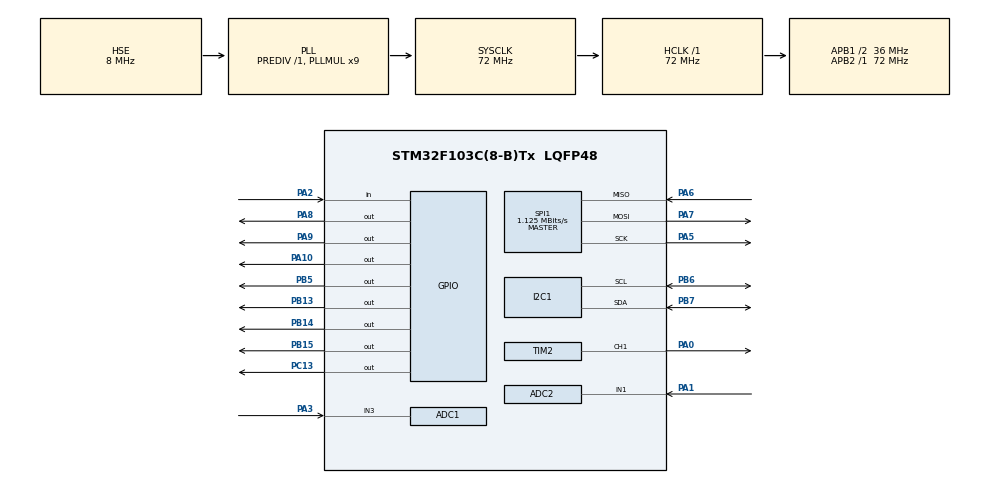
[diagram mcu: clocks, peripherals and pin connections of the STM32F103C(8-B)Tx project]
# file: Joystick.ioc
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ADC1.Channel-1\#ChannelRegularConversion=ADC_CHANNEL_3
ADC1.NbrOfConversionFlag=1
ADC1.Rank-1\#ChannelRegularConversion=1
ADC1.SamplingTime-1\#ChannelRegularConversion=ADC_SAMPLETIME_1CYCLE_5
ADC1.master=1
ADC2.Channel-0\#ChannelRegularConversion=ADC_CHANNEL_1
ADC2.NbrOfConversionFlag=1
ADC2.Rank-0\#ChannelRegularConversion=1
ADC2.SamplingTime-0\#ChannelRegularConversion=ADC_SAMPLETIME_1CYCLE_5
FREERTOS.Queues01=queueJoystPant,10,botones_t,0,Dynamic,NULL,NULL;queueSonidoMenu,10,musica_t,0,Dynamic,NULL,NULL
FREERTOS.Tasks01=JoystickTask,24,128,entryJoystick,Default,NULL,Dynamic,NULL,NULL;PantallaTask,24,256,entryPantalla,Default,NULL,Dynamic,NULL,NULL;MemoriaTask,40,128,entryMemoria,Default,NULL,Dynamic,NULL,NULL;SonidoTask,40,128,entrySonido,Default,NULL,Dynamic,NULL,NULL
FREERTOS.configRECORD_STACK_HIGH_ADDRESS=1
FREERTOS.configTOTAL_HEAP_SIZE=4000
FREERTOS.configUSE_APPLICATION_TASK_TAG=1
FREERTOS.configUSE_IDLE_HOOK=1
I2C1.I2C_Mode=I2C_Fast
Mcu.Family=STM32F1
Mcu.Name=STM32F103C(8-B)Tx
Mcu.Package=LQFP48
NVIC.PriorityGroup=NVIC_PRIORITYGROUP_4
NVIC.TIM3_IRQn=true\:4\:0\:true\:false\:true\:false\:true\:true\:true
NVIC.TIM4_IRQn=true\:15\:0\:true\:false\:true\:false\:false\:true\:true
NVIC.TimeBase=TIM4_IRQn
NVIC.TimeBaseIP=TIM4
PA0-WKUP.Signal=S_TIM2_CH1_ETR
PA1.Signal=ADCx_IN1
PA10.Signal=GPIO_Output
PA13.Mode=Serial_Wire
PA13.Signal=SYS_JTMS-SWDIO
PA14.Mode=Serial_Wire
PA14.Signal=SYS_JTCK-SWCLK
PA2.GPIO_PuPd=GPIO_PULLUP
PA2.Signal=GPIO_Input
PA3.Signal=ADCx_IN3
PA5.Mode=Full_Duplex_Master
PA5.Signal=SPI1_SCK
PA6.Mode=Full_Duplex_Master
PA6.Signal=SPI1_MISO
PA7.Mode=Full_Duplex_Master
PA7.Signal=SPI1_MOSI
PA8.Signal=GPIO_Output
PA9.Signal=GPIO_Output
PB13.Signal=GPIO_Output
PB14.Signal=GPIO_Output
PB15.Signal=GPIO_Output
PB5.Signal=GPIO_Output
PB6.Mode=I2C
PB6.Signal=I2C1_SCL
PB7.Mode=I2C
PB7.Signal=I2C1_SDA
PC13-TAMPER-RTC.Signal=GPIO_Output
PD0-OSC_IN.Mode=HSE-External-Oscillator
PD0-OSC_IN.Signal=RCC_OSC_IN
PD1-OSC_OUT.Mode=HSE-External-Oscillator
PD1-OSC_OUT.Signal=RCC_OSC_OUT
ProjectManager.HeapSize=0x200
ProjectManager.StackSize=0x400
ProjectManager.TargetToolchain=STM32CubeIDE
RCC.ADCPresc=RCC_ADCPCLK2_DIV6
RCC.AHBFreq_Value=72000000
RCC.APB1CLKDivider=RCC_HCLK_DIV2
RCC.APB1Freq_Value=36000000
RCC.APB1TimFreq_Value=72000000
RCC.APB2Freq_Value=72000000
RCC.APB2TimFreq_Value=72000000
RCC.HCLKFreq_Value=72000000
RCC.PLLMUL=RCC_PLL_MUL9
RCC.PLLSourceVirtual=RCC_PLLSOURCE_HSE
RCC.SYSCLKFreq_VALUE=72000000
RCC.SYSCLKSource=RCC_SYSCLKSOURCE_PLLCLK
RCC.USBFreq_Value=72000000
SH.ADCx_IN1.0=ADC2_IN1,IN1
SH.ADCx_IN3.0=ADC1_IN3,IN3
SH.S_TIM2_CH1_ETR.0=TIM2_CH1,PWM Generation1 CH1
SPI1.BaudRatePrescaler=SPI_BAUDRATEPRESCALER_64
SPI1.CalculateBaudRate=1.125 MBits/s
SPI1.Direction=SPI_DIRECTION_2LINES
SPI1.Mode=SPI_MODE_MASTER
SPI1.VirtualType=VM_MASTER
TIM2.Channel-PWM\ Generation1\ CH1=TIM_CHANNEL_1
TIM2.Period=255-1
TIM2.Prescaler=1-1
TIM3.Period=125-1
TIM3.Prescaler=72-1
VP_FREERTOS_VS_CMSIS_V2.Mode=CMSIS_V2
VP_SYS_VS_tim4.Mode=TIM4
VP_TIM2_VS_ClockSourceINT.Mode=Internal
VP_TIM3_VS_ClockSourceINT.Mode=Internal
board=custom

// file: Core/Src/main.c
/* USER CODE BEGIN Header */
/**
  ******************************************************************************
  * @file           : main.c
  * @brief          : Main program body
  ******************************************************************************
  * @attention
  *
  * Copyright (c) 2023 STMicroelectronics.
  * All rights reserved.
  *
  * This software is licensed under terms that can be found in the LICENSE file
  * in the root directory of this software component.
  * If no LICENSE file comes with this software, it is provided AS-IS.
  *
  ******************************************************************************
  */
/* USER CODE END Header */
#include "main.h"
#include "cmsis_os.h"

/* USER CODE BEGIN Includes */

//#include "invaders.h"
#include "task.h"
#include "memoria.h"

#include "tonos.h"
#include "menu.h"

/* USER CODE END Includes */

/* USER CODE BEGIN PTD */

typedef struct{

	uint8_t x_value;
	uint8_t y_value;
	uint8_t boton;

}botones_t;

/* USER CODE END PTD */

/* USER CODE BEGIN PD */

//------------------------------------------VARIABLES - MUSICA PARA EL GAME OVER, DISPARO Y EXPLOSIONES  ------------------------------------

musica_t musica;

volatile uint8_t *puntero_musica;
uint8_t *puntero_musica_final_f622 = tono_622hz + TAMANO_BUFF_TONO_622;
uint8_t *puntero_musica_final_f587 = tono_587hz + TAMANO_BUFF_TONO_587;
uint8_t *puntero_musica_final_f554 = tono_554hz + TAMANO_BUFF_TONO_554;
uint8_t *puntero_musica_final_tonos = tonos_variables + TAMANO_BUFF_TONOS_VARIABLES;
uint8_t *puntero_final_disparo = audio_disparo + TAMANO_BUFF_AUDIO_DISPARO;
uint8_t *puntero_final_explosion = audio_explosion + TAMANO_BUFF_AUDIO_EXPLOSION;

volatile tonos_t tonos;
volatile uint8_t conteo_musica;

/* USER CODE END PD */

/* USER CODE BEGIN PM */

//Para el debug, trace hooks.

void callback_in(int tag){
	switch(tag){
		case 0:
			HAL_GPIO_WritePin(GPIOA, GPIO_PIN_10, GPIO_PIN_SET);
		break;
		case 1:
			HAL_GPIO_WritePin(GPIOA, GPIO_PIN_9, GPIO_PIN_SET);
		break;
		case 2:
			HAL_GPIO_WritePin(GPIOA, GPIO_PIN_8, GPIO_PIN_SET);
		break;
		case 3:
			HAL_GPIO_WritePin(GPIOB, GPIO_PIN_15, GPIO_PIN_SET);
		break;
		case 4:
			HAL_GPIO_WritePin(GPIOB, GPIO_PIN_14, GPIO_PIN_SET);
		break;
	}
}

void callback_out(int tag){
	switch(tag){
		case 0:
			HAL_GPIO_WritePin(GPIOA, GPIO_PIN_10, GPIO_PIN_RESET);
		break;
		case 1:
			HAL_GPIO_WritePin(GPIOA, GPIO_PIN_9, GPIO_PIN_RESET);
		break;
		case 2:
			HAL_GPIO_WritePin(GPIOA, GPIO_PIN_8, GPIO_PIN_RESET);
		break;
		case 3:
			HAL_GPIO_WritePin(GPIOB, GPIO_PIN_15, GPIO_PIN_RESET);
		break;
		case 4:
			HAL_GPIO_WritePin(GPIOB, GPIO_PIN_14, GPIO_PIN_RESET);
		break;
	}
}

/* USER CODE END PM */

ADC_HandleTypeDef hadc1;
ADC_HandleTypeDef hadc2;

I2C_HandleTypeDef hi2c1;

SPI_HandleTypeDef hspi1;

TIM_HandleTypeDef htim2;
TIM_HandleTypeDef htim3;

/* Definitions for JoystickTask */
osThreadId_t JoystickTaskHandle;
const osThreadAttr_t JoystickTask_attributes = {
  .name = "JoystickTask",
  .stack_size = 128 * 4,
  .priority = (osPriority_t) osPriorityNormal,
};
/* Definitions for PantallaTask */
osThreadId_t PantallaTaskHandle;
const osThreadAttr_t PantallaTask_attributes = {
  .name = "PantallaTask",
  .stack_size = 256 * 4,
  .priority = (osPriority_t) osPriorityNormal,
};
/* Definitions for MemoriaTask */
osThreadId_t MemoriaTaskHandle;
const osThreadAttr_t MemoriaTask_attributes = {
  .name = "MemoriaTask",
  .stack_size = 128 * 4,
  .priority = (osPriority_t) osPriorityHigh,
};
/* Definitions for SonidoTask */
osThreadId_t SonidoTaskHandle;
const osThreadAttr_t SonidoTask_attributes = {
  .name = "SonidoTask",
  .stack_size = 128 * 4,
  .priority = (osPriority_t) osPriorityHigh,
};
/* Definitions for queueJoystPant */
osMessageQueueId_t queueJoystPantHandle;
const osMessageQueueAttr_t queueJoystPant_attributes = {
  .name = "queueJoystPant"
};
/* Definitions for queueSonidoMenu */
osMessageQueueId_t queueSonidoMenuHandle;
const osMessageQueueAttr_t queueSonidoMenu_attributes = {
  .name = "queueSonidoMenu"
};
/* USER CODE BEGIN PV */

//Notificacion entre MemoriaTask y PantallaTask
osEventFlagsId_t notificationFlag;

/* USER CODE END PV */

void SystemClock_Config(void);
static void MX_GPIO_Init(void);
static void MX_ADC1_Init(void);
static void MX_I2C1_Init(void);
static void MX_SPI1_Init(void);
static void MX_ADC2_Init(void);
static void MX_TIM2_Init(void);
static void MX_TIM3_Init(void);
void entryJoystick(void *argument);
void entryPantalla(void *argument);
void entryMemoria(void *argument);
void entrySonido(void *argument);

int main(void)
{

  /* MCU Configuration--------------------------------------------------------*/

  /* Reset of all peripherals, Initializes the Flash interface and the Systick. */
  HAL_Init();

  /* Configure the system clock */
  SystemClock_Config();

  /* Initialize all configured peripherals */
  MX_GPIO_Init();
  MX_ADC1_Init();
  MX_I2C1_Init();
  MX_SPI1_Init();
  MX_ADC2_Init();
  MX_TIM2_Init();
  MX_TIM3_Init();

  /* Init scheduler */
  osKernelInitialize();

  /* Create the queue(s) */
  /* creation of queueJoystPant */
  queueJoystPantHandle = osMessageQueueNew (10, sizeof(botones_t), &queueJoystPant_attributes);

  /* creation of queueSonidoMenu */
  queueSonidoMenuHandle = osMessageQueueNew (10, sizeof(musica_t), &queueSonidoMenu_attributes);

  /* Create the thread(s) */
  /* creation of JoystickTask */
  JoystickTaskHandle = osThreadNew(entryJoystick, NULL, &JoystickTask_attributes);

  /* creation of PantallaTask */
  PantallaTaskHandle = osThreadNew(entryPantalla, NULL, &PantallaTask_attributes);

  /* creation of MemoriaTask */
  MemoriaTaskHandle = osThreadNew(entryMemoria, NULL, &MemoriaTask_attributes);

  /* creation of SonidoTask */
  SonidoTaskHandle = osThreadNew(entrySonido, NULL, &SonidoTask_attributes);

  /* USER CODE BEGIN RTOS_EVENTS */
  /* add events, ... */

  //Creacion de la cola notificacion.
  notificationFlag = osEventFlagsNew(NULL);

  /* USER CODE END RTOS_EVENTS */

  /* Start scheduler */
  osKernelStart();

  /* We should never get here as control is now taken by the scheduler */
  /* Infinite loop */
  while (1)
  {

  }
}

void SystemClock_Config(void)
{
  RCC_OscInitTypeDef RCC_OscInitStruct = {0};
  RCC_ClkInitTypeDef RCC_ClkInitStruct = {0};
  RCC_PeriphCLKInitTypeDef PeriphClkInit = {0};

  /** Initializes the RCC Oscillators according to the specified parameters
  * in the RCC_OscInitTypeDef structure.
  */
  RCC_OscInitStruct.OscillatorType = RCC_OSCILLATORTYPE_HSE;
  RCC_OscInitStruct.HSEState = RCC_HSE_ON;
  RCC_OscInitStruct.HSEPredivValue = RCC_HSE_PREDIV_DIV1;
  RCC_OscInitStruct.HSIState = RCC_HSI_ON;
  RCC_OscInitStruct.PLL.PLLState = RCC_PLL_ON;
  RCC_OscInitStruct.PLL.PLLSource = RCC_PLLSOURCE_HSE;
  RCC_OscInitStruct.PLL.PLLMUL = RCC_PLL_MUL9;
  if (HAL_RCC_OscConfig(&RCC_OscInitStruct) != HAL_OK)
  {
    Error_Handler();
  }

  /** Initializes the CPU, AHB and APB buses clocks
  */
  RCC_ClkInitStruct.ClockType = RCC_CLOCKTYPE_HCLK|RCC_CLOCKTYPE_SYSCLK
                              |RCC_CLOCKTYPE_PCLK1|RCC_CLOCKTYPE_PCLK2;
  RCC_ClkInitStruct.SYSCLKSource = RCC_SYSCLKSOURCE_PLLCLK;
  RCC_ClkInitStruct.AHBCLKDivider = RCC_SYSCLK_DIV1;
  RCC_ClkInitStruct.APB1CLKDivider = RCC_HCLK_DIV2;
  RCC_ClkInitStruct.APB2CLKDivider = RCC_HCLK_DIV1;

  if (HAL_RCC_ClockConfig(&RCC_ClkInitStruct, FLASH_LATENCY_2) != HAL_OK)
  {
    Error_Handler();
  }
  PeriphClkInit.PeriphClockSelection = RCC_PERIPHCLK_ADC;
  PeriphClkInit.AdcClockSelection = RCC_ADCPCLK2_DIV6;
  if (HAL_RCCEx_PeriphCLKConfig(&PeriphClkInit) != HAL_OK)
  {
    Error_Handler();
  }
}

static void MX_ADC1_Init(void)
{

  ADC_ChannelConfTypeDef sConfig = {0};

  /** Common config
  */
  hadc1.Instance = ADC1;
  hadc1.Init.ScanConvMode = ADC_SCAN_DISABLE;
  hadc1.Init.ContinuousConvMode = DISABLE;
  hadc1.Init.DiscontinuousConvMode = DISABLE;
  hadc1.Init.ExternalTrigConv = ADC_SOFTWARE_START;
  hadc1.Init.DataAlign = ADC_DATAALIGN_RIGHT;
  hadc1.Init.NbrOfConversion = 1;
  if (HAL_ADC_Init(&hadc1) != HAL_OK)
  {
    Error_Handler();
  }

  /** Configure Regular Channel
  */
  sConfig.Channel = ADC_CHANNEL_3;
  sConfig.Rank = ADC_REGULAR_RANK_1;
  sConfig.SamplingTime = ADC_SAMPLETIME_1CYCLE_5;
  if (HAL_ADC_ConfigChannel(&hadc1, &sConfig) != HAL_OK)
  {
    Error_Handler();
  }

}

static void MX_ADC2_Init(void)
{

  ADC_ChannelConfTypeDef sConfig = {0};

  /** Common config
  */
  hadc2.Instance = ADC2;
  hadc2.Init.ScanConvMode = ADC_SCAN_DISABLE;
  hadc2.Init.ContinuousConvMode = DISABLE;
  hadc2.Init.DiscontinuousConvMode = DISABLE;
  hadc2.Init.ExternalTrigConv = ADC_SOFTWARE_START;
  hadc2.Init.DataAlign = ADC_DATAALIGN_RIGHT;
  hadc2.Init.NbrOfConversion = 1;
  if (HAL_ADC_Init(&hadc2) != HAL_OK)
  {
    Error_Handler();
  }

  /** Configure Regular Channel
  */
  sConfig.Channel = ADC_CHANNEL_1;
  sConfig.Rank = ADC_REGULAR_RANK_1;
  sConfig.SamplingTime = ADC_SAMPLETIME_1CYCLE_5;
  if (HAL_ADC_ConfigChannel(&hadc2, &sConfig) != HAL_OK)
  {
    Error_Handler();
  }

}

static void MX_I2C1_Init(void)
{

  hi2c1.Instance = I2C1;
  hi2c1.Init.ClockSpeed = 400000;
  hi2c1.Init.DutyCycle = I2C_DUTYCYCLE_2;
  hi2c1.Init.OwnAddress1 = 0;
  hi2c1.Init.AddressingMode = I2C_ADDRESSINGMODE_7BIT;
  hi2c1.Init.DualAddressMode = I2C_DUALADDRESS_DISABLE;
  hi2c1.Init.OwnAddress2 = 0;
  hi2c1.Init.GeneralCallMode = I2C_GENERALCALL_DISABLE;
  hi2c1.Init.NoStretchMode = I2C_NOSTRETCH_DISABLE;
  if (HAL_I2C_Init(&hi2c1) != HAL_OK)
  {
    Error_Handler();
  }

}

static void MX_SPI1_Init(void)
{

  /* SPI1 parameter configuration*/
  hspi1.Instance = SPI1;
  hspi1.Init.Mode = SPI_MODE_MASTER;
  hspi1.Init.Direction = SPI_DIRECTION_2LINES;
  hspi1.Init.DataSize = SPI_DATASIZE_8BIT;
  hspi1.Init.CLKPolarity = SPI_POLARITY_LOW;
  hspi1.Init.CLKPhase = SPI_PHASE_1EDGE;
  hspi1.Init.NSS = SPI_NSS_SOFT;
  hspi1.Init.BaudRatePrescaler = SPI_BAUDRATEPRESCALER_64;
  hspi1.Init.FirstBit = SPI_FIRSTBIT_MSB;
  hspi1.Init.TIMode = SPI_TIMODE_DISABLE;
  hspi1.Init.CRCCalculation = SPI_CRCCALCULATION_DISABLE;
  hspi1.Init.CRCPolynomial = 10;
  if (HAL_SPI_Init(&hspi1) != HAL_OK)
  {
    Error_Handler();
  }

}

static void MX_TIM2_Init(void)
{

  TIM_ClockConfigTypeDef sClockSourceConfig = {0};
  TIM_MasterConfigTypeDef sMasterConfig = {0};
  TIM_OC_InitTypeDef sConfigOC = {0};

  htim2.Instance = TIM2;
  htim2.Init.Prescaler = 1-1;
  htim2.Init.CounterMode = TIM_COUNTERMODE_UP;
  htim2.Init.Period = 255-1;
  htim2.Init.ClockDivision = TIM_CLOCKDIVISION_DIV1;
  htim2.Init.AutoReloadPreload = TIM_AUTORELOAD_PRELOAD_DISABLE;
  if (HAL_TIM_Base_Init(&htim2) != HAL_OK)
  {
    Error_Handler();
  }
  sClockSourceConfig.ClockSource = TIM_CLOCKSOURCE_INTERNAL;
  if (HAL_TIM_ConfigClockSource(&htim2, &sClockSourceConfig) != HAL_OK)
  {
    Error_Handler();
  }
  if (HAL_TIM_PWM_Init(&htim2) != HAL_OK)
  {
    Error_Handler();
  }
  sMasterConfig.MasterOutputTrigger = TIM_TRGO_RESET;
  sMasterConfig.MasterSlaveMode = TIM_MASTERSLAVEMODE_DISABLE;
  if (HAL_TIMEx_MasterConfigSynchronization(&htim2, &sMasterConfig) != HAL_OK)
  {
    Error_Handler();
  }
  sConfigOC.OCMode = TIM_OCMODE_PWM1;
  sConfigOC.Pulse = 0;
  sConfigOC.OCPolarity = TIM_OCPOLARITY_HIGH;
  sConfigOC.OCFastMode = TIM_OCFAST_DISABLE;
  if (HAL_TIM_PWM_ConfigChannel(&htim2, &sConfigOC, TIM_CHANNEL_1) != HAL_OK)
  {
    Error_Handler();
  }
  HAL_TIM_MspPostInit(&htim2);

}

static void MX_TIM3_Init(void)
{

  TIM_ClockConfigTypeDef sClockSourceConfig = {0};
  TIM_MasterConfigTypeDef sMasterConfig = {0};

  htim3.Instance = TIM3;
  htim3.Init.Prescaler = 72-1;
  htim3.Init.CounterMode = TIM_COUNTERMODE_UP;
  htim3.Init.Period = 125-1;
  htim3.Init.ClockDivision = TIM_CLOCKDIVISION_DIV1;
  htim3.Init.AutoReloadPreload = TIM_AUTORELOAD_PRELOAD_DISABLE;
  if (HAL_TIM_Base_Init(&htim3) != HAL_OK)
  {
    Error_Handler();
  }
  sClockSourceConfig.ClockSource = TIM_CLOCKSOURCE_INTERNAL;
  if (HAL_TIM_ConfigClockSource(&htim3, &sClockSourceConfig) != HAL_OK)
  {
    Error_Handler();
  }
  sMasterConfig.MasterOutputTrigger = TIM_TRGO_RESET;
  sMasterConfig.MasterSlaveMode = TIM_MASTERSLAVEMODE_DISABLE;
  if (HAL_TIMEx_MasterConfigSynchronization(&htim3, &sMasterConfig) != HAL_OK)
  {
    Error_Handler();
  }

}

static void MX_GPIO_Init(void)
{
  GPIO_InitTypeDef GPIO_InitStruct = {0};

  /* GPIO Ports Clock Enable */
  __HAL_RCC_GPIOC_CLK_ENABLE();
  __HAL_RCC_GPIOD_CLK_ENABLE();
  __HAL_RCC_GPIOA_CLK_ENABLE();
  __HAL_RCC_GPIOB_CLK_ENABLE();

  /*Configure GPIO pin Output Level */
  HAL_GPIO_WritePin(GPIOC, GPIO_PIN_13, GPIO_PIN_RESET);

  /*Configure GPIO pin Output Level */
  HAL_GPIO_WritePin(GPIOB, GPIO_PIN_13|GPIO_PIN_14|GPIO_PIN_15|GPIO_PIN_5, GPIO_PIN_RESET);

  /*Configure GPIO pin Output Level */
  HAL_GPIO_WritePin(GPIOA, GPIO_PIN_8|GPIO_PIN_9|GPIO_PIN_10, GPIO_PIN_RESET);

  /*Configure GPIO pin : PC13 */
  GPIO_InitStruct.Pin = GPIO_PIN_13;
  GPIO_InitStruct.Mode = GPIO_MODE_OUTPUT_PP;
  GPIO_InitStruct.Pull = GPIO_NOPULL;
  GPIO_InitStruct.Speed = GPIO_SPEED_FREQ_LOW;
  HAL_GPIO_Init(GPIOC, &GPIO_InitStruct);

  /*Configure GPIO pin : PA2 */
  GPIO_InitStruct.Pin = GPIO_PIN_2;
  GPIO_InitStruct.Mode = GPIO_MODE_INPUT;
  GPIO_InitStruct.Pull = GPIO_PULLUP;
  HAL_GPIO_Init(GPIOA, &GPIO_InitStruct);

  /*Configure GPIO pins : PB13 PB14 PB15 PB5 */
  GPIO_InitStruct.Pin = GPIO_PIN_13|GPIO_PIN_14|GPIO_PIN_15|GPIO_PIN_5;
  GPIO_InitStruct.Mode = GPIO_MODE_OUTPUT_PP;
  GPIO_InitStruct.Pull = GPIO_NOPULL;
  GPIO_InitStruct.Speed = GPIO_SPEED_FREQ_LOW;
  HAL_GPIO_Init(GPIOB, &GPIO_InitStruct);

  /*Configure GPIO pins : PA8 PA9 PA10 */
  GPIO_InitStruct.Pin = GPIO_PIN_8|GPIO_PIN_9|GPIO_PIN_10;
  GPIO_InitStruct.Mode = GPIO_MODE_OUTPUT_PP;
  GPIO_InitStruct.Pull = GPIO_NOPULL;
  GPIO_InitStruct.Speed = GPIO_SPEED_FREQ_LOW;
  HAL_GPIO_Init(GPIOA, &GPIO_InitStruct);

}

void entryJoystick(void *argument)
{
  /* USER CODE BEGIN 5 */
  /* Infinite loop */

	vTaskSetApplicationTaskTag( NULL, ( void * ) 1 );

	botones_t joystick;
	uint16_t val_x, val_y;

	TickType_t xLastWakeTime;
	xLastWakeTime = xTaskGetTickCount();

  for(;;)
  {

	  //Joystick eje X: derecha o izquierda.
	  HAL_ADC_Start(&hadc1);
	  HAL_ADC_PollForConversion(&hadc1, 10);
	  val_x = HAL_ADC_GetValue(&hadc1);
	  HAL_ADC_Stop(&hadc1);

	  //Joystick eje Y: arriba o abajo.
	  HAL_ADC_Start(&hadc2);
	  HAL_ADC_PollForConversion(&hadc2, 10);
	  val_y = HAL_ADC_GetValue(&hadc2);
	  HAL_ADC_Stop(&hadc2);

	  if(val_x > UMBRAL_DERECHA){
		  joystick.x_value = derecha;
	  }
	  else if(val_x < UMBRAL_IZQUIERDA){
		  joystick.x_value = izquierda;
	  }
	  else{
		  joystick.x_value = nulo;
	  }

	  if(val_y > UMBRAL_ABAJO){
		  joystick.y_value = abajo;
	  }
	  else if(val_y < UMBRAL_ARRIBA){
		  joystick.y_value = arriba;
	  }
	  else{
		  joystick.y_value = nulo;
	  }

	  //Boton del Joystick.

	  if(HAL_GPIO_ReadPin(GPIOA, GPIO_PIN_2) == GPIO_PIN_RESET){
		  joystick.boton = true;
	  }
	  else{
		  joystick.boton = false;
	  }

	osStatus_t res = osMessageQueuePut(queueJoystPantHandle, &joystick, 0, 0);
	if(res != osOK) HAL_GPIO_WritePin(GPIOC, GPIO_PIN_13, GPIO_PIN_RESET);

	vTaskDelayUntil(&xLastWakeTime, pdMS_TO_TICKS(50));

  }
  /* USER CODE END 5 */
}

void entryPantalla(void *argument)
{
  /* USER CODE BEGIN entryPantalla */
  /* Infinite loop */

	vTaskSetApplicationTaskTag( NULL, ( void * ) 2 );

	//Se inicializan los botones (eje y, eje x del joystick y boton)
	botones_t joystick;
	menuInit();

  for(;;)
  {
	osStatus_t res = osMessageQueueGet(queueJoystPantHandle, &joystick, 0 , osWaitForever);	//Se espera a recibir los valores de los botones del joystick

	if(res != osOK) HAL_GPIO_WritePin(GPIOC, GPIO_PIN_13, GPIO_PIN_RESET);	//Si no se recibio correctamente, prender led.

	else{
		HAL_GPIO_WritePin(GPIOC, GPIO_PIN_13, GPIO_PIN_SET);	//Si se recibio correctamente de la cola.

		menuActualizar(joystick.x_value, joystick.y_value, joystick.boton);
		actualizarPantalla();

	}

  }
  /* USER CODE END entryPantalla */
}

void entryMemoria(void *argument)
{
  /* USER CODE BEGIN entryMemoria */

	vTaskSetApplicationTaskTag( NULL, ( void * ) 3 );
	//Se leen los datos desde la memoria.

	//Write_PuntajesEjemplos();

	memoriaInit();

  /* Infinite loop */
  for(;;)
  {
	  //Espero la notificacion 1 desde la tarea Pantalla/Menu (desde el menu de guardado de nombre) para sincronizar el ordenamiento y guardado del nuevo puntaje.
	  uint32_t flags = osEventFlagsWait(notificationFlag, NOTIFICATION_VALUE, osFlagsWaitAny, osWaitForever);

	      // Realiza acciones basadas en la notificación recibida
	      if (flags == NOTIFICATION_VALUE)
	      {

	    	  uint8_t permutaciones = Ordenamiento_Puntajes();

	    	  writeNuevosPuntajes(permutaciones);

				//Se reinician los valores de todos los menues
				//(se reinician las posiciones del player, flags en el juego - las posiciones de los cursores, etc.
				menuReset();
				*getMenuActual() = puntajes;

	      }

  }
  /* USER CODE END entryMemoria */
}

void entrySonido(void *argument)
{
  /* USER CODE BEGIN entrySonido */

	vTaskSetApplicationTaskTag( NULL, ( void * ) 4 );

  /* Infinite loop */
  for(;;)
  {
	  osStatus_t res = osMessageQueueGet(queueSonidoMenuHandle, &musica, 0, osWaitForever);	//Se espera a recibir los valores de los botones del joystick

	  if(res != osOK) HAL_GPIO_WritePin(GPIOC, GPIO_PIN_13, GPIO_PIN_RESET);	//Si no se recibio correctamente, prender led.

	  else{
		  HAL_GPIO_WritePin(GPIOC, GPIO_PIN_13, GPIO_PIN_SET);

			HAL_TIM_PWM_Stop(&htim2, TIM_CHANNEL_1);
			HAL_TIM_Base_Stop_IT(&htim3);

		  switch(musica){
		  case gameover_:

				tonos = f622;
				conteo_musica = VECES_622HZ;
				puntero_musica = tono_622hz;

			  break;
		  case disparo_:
			  puntero_musica = audio_disparo;

			  break;
		  case explosion_:
			  puntero_musica = audio_explosion;
			  break;
		  default:
			  break;

		  }

		  HAL_TIM_PWM_Start(&htim2, TIM_CHANNEL_1);
		  HAL_TIM_Base_Start_IT(&htim3);

	  }

  }
  /* USER CODE END entrySonido */
}

void HAL_TIM_PeriodElapsedCallback(TIM_HandleTypeDef *htim)
{
  if (htim->Instance == TIM4) {
    HAL_IncTick();
  }
  /* USER CODE BEGIN Callback 1 */

  if (htim->Instance == TIM3) {

		TIM2->CCR1 = *puntero_musica >> 1;
		puntero_musica++;
		HAL_GPIO_WritePin(GPIOB, GPIO_PIN_13, GPIO_PIN_SET);

		switch(musica){

					 case gameover_:
						 //Musica del Game Over
								switch(tonos){
								case f622:
									if(puntero_musica == puntero_musica_final_f622){
											puntero_musica = tono_622hz;
											conteo_musica--;
									}
									break;
								case f587:
									if(puntero_musica == puntero_musica_final_f587){
											puntero_musica = tono_587hz;
											conteo_musica--;
									}
									break;
								case f554:
									if(puntero_musica == puntero_musica_final_f554){
											puntero_musica = tono_554hz;
											conteo_musica--;
									}
									break;
								default:	//Tonos variables
									if(puntero_musica == puntero_musica_final_tonos){
											puntero_musica = tonos_variables;
											conteo_musica--;
									}
									break;
								}

									if(conteo_musica == 0){

										switch(tonos){
										case f622:
											puntero_musica = tono_587hz;
											tonos = f587;
											conteo_musica = VECES_587HZ;
											break;
										case f587:
											puntero_musica = tono_554hz;
											tonos = f554;
											conteo_musica = VECES_554HZ;
											break;
										case f554:
											puntero_musica = tonos_variables;
											tonos = variables;
											conteo_musica = VECES_TONOS_VARIABLES;
											break;
										case variables:	//Tonos variables
											HAL_TIM_PWM_Stop(&htim2, TIM_CHANNEL_1);
											HAL_TIM_Base_Stop_IT(&htim3);

											break;
										default:
											break;
									}
								}
					 break;
					 case disparo_:

						 if(puntero_musica == puntero_final_disparo){
								HAL_TIM_PWM_Stop(&htim2, TIM_CHANNEL_1);
								HAL_TIM_Base_Stop_IT(&htim3);
						 }

						 break;
					 case explosion_:

						 if(puntero_musica == puntero_final_explosion){
								HAL_TIM_PWM_Stop(&htim2, TIM_CHANNEL_1);
								HAL_TIM_Base_Stop_IT(&htim3);
						 }
						 break;
					 default:
						 break;
				 }

		HAL_GPIO_WritePin(GPIOB, GPIO_PIN_13, GPIO_PIN_RESET);
  }

  /* USER CODE END Callback 1 */
}

void Error_Handler(void)
{
  __disable_irq();
  while (1)
  {
  }
}

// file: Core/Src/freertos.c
/* USER CODE BEGIN Header */
/**
  ******************************************************************************
  * File Name          : freertos.c
  * Description        : Code for freertos applications
  ******************************************************************************
  * @attention
  *
  * Copyright (c) 2023 STMicroelectronics.
  * All rights reserved.
  *
  * This software is licensed under terms that can be found in the LICENSE file
  * in the root directory of this software component.
  * If no LICENSE file comes with this software, it is provided AS-IS.
  *
  ******************************************************************************
  */
/* USER CODE END Header */

#include "FreeRTOS.h"
#include "task.h"
#include "main.h"

/* Hook prototypes */
void vApplicationIdleHook(void);

/* USER CODE BEGIN 2 */
void vApplicationIdleHook( void )
{
   /* vApplicationIdleHook() will only be called if configUSE_IDLE_HOOK is set
   to 1 in FreeRTOSConfig.h. It will be called on each iteration of the idle
   task. It is essential that code added to this hook function never attempts
   to block in any way (for example, call xQueueReceive() with a block time
   specified, or call vTaskDelay()). If the application makes use of the
   vTaskDelete() API function (as this demo application does) then it is also
   important that vApplicationIdleHook() is permitted to return to its calling
   function, because it is the responsibility of the idle task to clean up
   memory allocated by the kernel to any task that has since been deleted. */

	vTaskSetApplicationTaskTag( NULL, ( void * ) 0 );

}
/* USER CODE END 2 */
